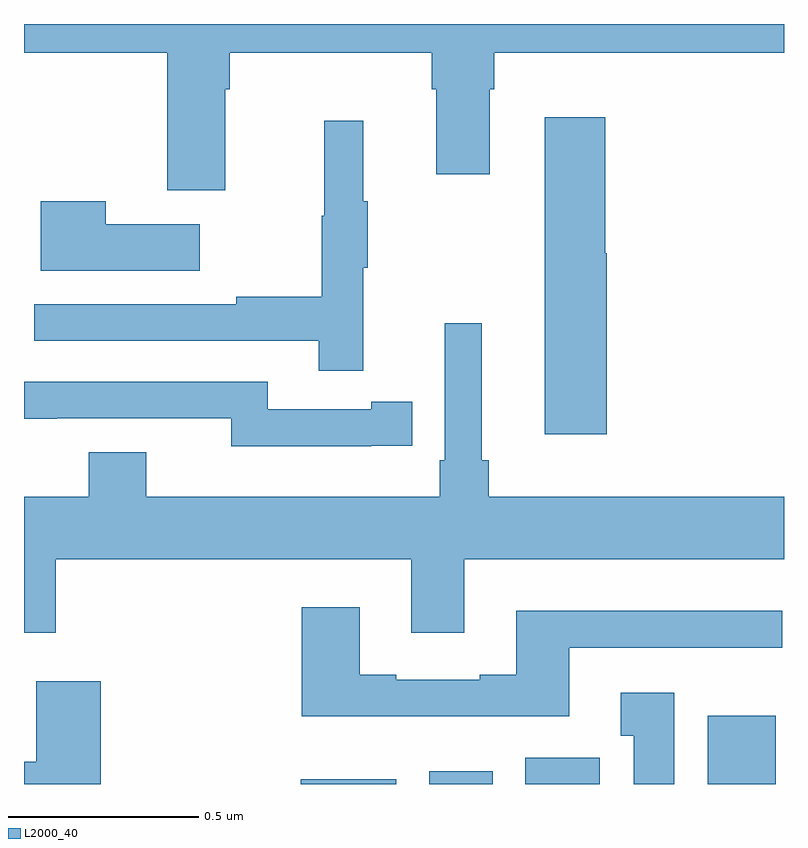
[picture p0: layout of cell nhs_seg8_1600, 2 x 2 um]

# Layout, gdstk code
import gdstk
lib = gdstk.Library(unit=1e-6, precision=1e-09)
def R(c, l, rs):  # rectangles x0, y0, x1, y1
    for r in rs: c.add(gdstk.rectangle(r[:2], r[2:], *l))
def P(c, l, *ps):  # polygons
    for p in ps: c.add(gdstk.Polygon(p, *l))
L2000_40 = (2000, 40)

nhs_seg8_1600 = lib.new_cell('nhs_seg8_1600')
R(nhs_seg8_1600, L2000_40, [(132.728,1123.9,132.979,1123.912), (133.067,1123.9,133.234,1123.933), (133.319,1123.9,133.515,1123.969), (133.799,1123.9,133.978,1124.08)])
P(nhs_seg8_1600, L2000_40, [(132.529,1125.728),(132.542,1125.728),(132.542,1125.824),(133.073,1125.824),(133.073,1125.728),(133.085,1125.728),(133.085,1125.504),(133.225,1125.504),(133.225,1125.728),(133.238,1125.728),(133.238,1125.824),(134,1125.824),(134,1125.9),(132,1125.9),(132,1125.824),(132.377,1125.824),(132.377,1125.462),(132.529,1125.462)],
  [(133.534,1125.297),(133.529,1125.297),(133.529,1125.655),(133.37,1125.655),(133.37,1124.82),(133.534,1124.82)],
  [(132.893,1125.259),(132.904,1125.259),(132.904,1125.433),(132.893,1125.433),(132.893,1125.646),(132.79,1125.646),(132.79,1125.396),(132.783,1125.396),(132.783,1125.182),(132.559,1125.182),(132.559,1125.162),(132.027,1125.162),(132.027,1125.066),(132.775,1125.066),(132.775,1124.988),(132.893,1124.988)],
  [(132.463,1125.373),(132.215,1125.373),(132.215,1125.433),(132.044,1125.433),(132.044,1125.251),(132.463,1125.251)],
  [(132.083,1124.492),(133.019,1124.492),(133.019,1124.298),(133.159,1124.298),(133.159,1124.492),(134,1124.492),(134,1124.656),(133.223,1124.656),(133.223,1124.752),(133.204,1124.752),(133.204,1125.112),(133.107,1125.112),(133.107,1124.752),(133.094,1124.752),(133.094,1124.656),(132.322,1124.656),(132.322,1124.773),(132.17,1124.773),(132.17,1124.656),(132,1124.656),(132,1124.298),(132.083,1124.298)],
  [(132.914,1124.79),(133.022,1124.79),(133.022,1124.906),(132.914,1124.906),(132.914,1124.886),(132.642,1124.886),(132.642,1124.958),(132,1124.958),(132,1124.861),(132.086,1124.861),(132.086,1124.862),(132.546,1124.862),(132.546,1124.789),(132.914,1124.789)],
  [(133.435,1124.259),(133.996,1124.259),(133.996,1124.356),(133.295,1124.356),(133.295,1124.188),(133.199,1124.188),(133.199,1124.175),(132.979,1124.175),(132.979,1124.188),(132.883,1124.188),(132.883,1124.365),(132.731,1124.365),(132.731,1124.078),(133.435,1124.078)],
  [(132.202,1124.17),(132.032,1124.17),(132.032,1123.959),(132,1123.959),(132,1123.9),(132.202,1123.9)],
  [(133.711,1124.14),(133.571,1124.14),(133.571,1124.027),(133.604,1124.027),(133.604,1123.9),(133.711,1123.9)])

lib.write_gds('nhs_seg8_1600.gds')
